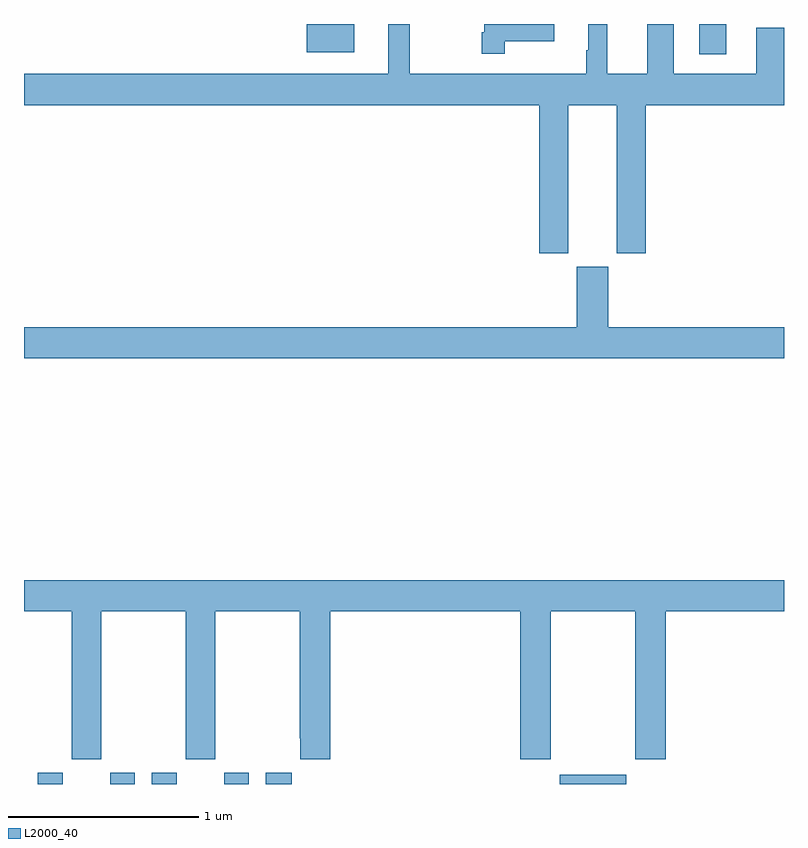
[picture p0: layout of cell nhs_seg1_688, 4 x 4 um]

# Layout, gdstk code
import gdstk
lib = gdstk.Library(unit=1e-6, precision=1e-09)
def R(c, l, rs):  # rectangles x0, y0, x1, y1
    for r in rs: c.add(gdstk.rectangle(r[:2], r[2:], *l))
def P(c, l, *ps):  # polygons
    for p in ps: c.add(gdstk.Polygon(p, *l))
L2000_40 = (2000, 40)

nhs_seg1_688 = lib.new_cell('nhs_seg1_688')
R(nhs_seg1_688, L2000_40, [(149.072,508.199,149.203,508.258), (149.453,508.199,149.584,508.258), (149.672,508.199,149.803,508.258), (150.053,508.199,150.184,508.258), (150.272,508.199,150.409,508.258), (151.82,508.199,152.17,508.249), (152.555,512.04,152.695,512.199), (150.488,512.051,150.739,512.199)])
P(nhs_seg1_688, L2000_40, [(151.531,512.108),(151.792,512.108),(151.792,512.199),(151.422,512.199),(151.422,512.155),(151.41,512.155),(151.41,512.043),(151.531,512.043)],
  [(151.031,512.199),(150.917,512.199),(150.917,511.936),(149,511.936),(149,511.772),(151.712,511.772),(151.712,510.993),(151.864,510.993),(151.864,511.772),(152.12,511.772),(152.12,510.993),(152.273,510.993),(152.273,511.772),(153,511.772),(153,512.179),(152.855,512.179),(152.855,511.936),(152.419,511.936),(152.419,512.199),(152.279,512.199),(152.279,511.936),(152.069,511.936),(152.069,512.199),(151.97,512.199),(151.97,512.06),(151.959,512.06),(151.959,511.936),(151.031,511.936)],
  [(153,510.604),(152.074,510.604),(152.074,510.921),(151.91,510.921),(151.91,510.604),(149,510.604),(149,510.44),(153,510.44)],
  [(149.406,509.108),(149.851,509.108),(149.851,508.329),(150.006,508.329),(150.006,509.108),(150.451,509.108),(150.451,508.441),(150.455,508.441),(150.455,508.329),(150.611,508.329),(150.611,509.108),(151.613,509.108),(151.613,508.329),(151.773,508.329),(151.773,509.108),(152.218,509.108),(152.218,508.329),(152.378,508.329),(152.378,509.108),(153,509.108),(153,509.272),(149,509.272),(149,509.108),(149.251,509.108),(149.251,508.329),(149.406,508.329)])

lib.write_gds('nhs_seg1_688.gds')
